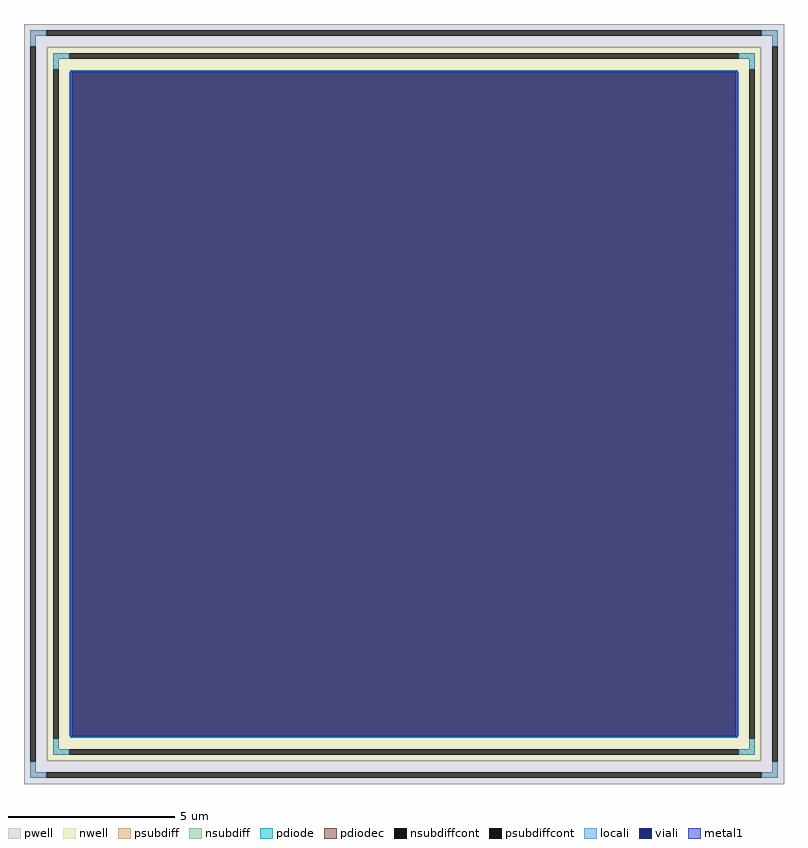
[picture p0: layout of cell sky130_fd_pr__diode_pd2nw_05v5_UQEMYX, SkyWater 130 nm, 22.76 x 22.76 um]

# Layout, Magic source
magic
tech sky130A
<< nwell >>
rect -1069 -1069 1069 1069
<< pwell >>
rect -1138 1069 1138 1138
rect -1138 -1069 -1069 1069
rect 1069 -1069 1138 1069
rect -1138 -1138 1138 -1069
<< psubdiff >>
rect -1120 1103 -1072 1120
rect 1072 1103 1120 1120
rect -1120 1072 -1103 1103
rect 1103 1072 1120 1103
rect -1120 -1103 -1103 -1072
rect 1103 -1103 1120 -1072
rect -1120 -1120 -1072 -1103
rect 1072 -1120 1120 -1103
<< nsubdiff >>
rect -1051 1034 -1003 1051
rect 1003 1034 1051 1051
rect -1051 1003 -1034 1034
rect 1034 1003 1051 1034
rect -1051 -1034 -1034 -1003
rect 1034 -1034 1051 -1003
rect -1051 -1051 -1003 -1034
rect 1003 -1051 1051 -1034
<< psubdiffcont >>
rect -1072 1103 1072 1120
rect -1120 -1072 -1103 1072
rect 1103 -1072 1120 1072
rect -1072 -1120 1072 -1103
<< nsubdiffcont >>
rect -1003 1034 1003 1051
rect -1051 -1003 -1034 1003
rect 1034 -1003 1051 1003
rect -1003 -1051 1003 -1034
<< pdiode >>
rect -1000 994 1000 1000
rect -1000 -994 -994 994
rect 994 -994 1000 994
rect -1000 -1000 1000 -994
<< pdiodec >>
rect -994 -994 994 994
<< locali >>
rect -1120 1103 -1072 1120
rect 1072 1103 1120 1120
rect -1120 1072 -1103 1103
rect 1103 1072 1120 1103
rect -1051 1034 -1003 1051
rect 1003 1034 1051 1051
rect -1051 1003 -1034 1034
rect 1034 1003 1051 1034
rect -1002 -994 -994 994
rect 994 -994 1002 994
rect -1051 -1034 -1034 -1003
rect 1034 -1034 1051 -1003
rect -1051 -1051 -1003 -1034
rect 1003 -1051 1051 -1034
rect -1120 -1103 -1103 -1072
rect 1103 -1103 1120 -1072
rect -1120 -1120 -1072 -1103
rect 1072 -1120 1120 -1103
<< viali >>
rect -994 -994 994 994
<< metal1 >>
rect -1000 994 1000 997
rect -1000 -994 -994 994
rect 994 -994 1000 994
rect -1000 -997 1000 -994
<< properties >>
string FIXED_BBOX -1042 -1042 1042 1042
string gencell sky130_fd_pr__diode_pd2nw_05v5
string library sky130
string parameters w 20 l 20 area 400.0 peri 80.0 nx 1 ny 1 dummy 0 lmin 0.45 wmin 0.45 elc 1 erc 1 etc 1 ebc 1 glc 1 grc 1 gtc 1 gbc 1 doverlap 0 compatible {sky130_fd_pr__diode_pd2nw_05v5 sky130_fd_pr__diode_pd2nw_05v5_lvt  sky130_fd_pr__diode_pd2nw_05v5_hvt sky130_fd_pr__diode_pd2nw_11v0} full_metal 1 vias 1 viagb 0 viagt 0 viagl 0 viagr 0
<< end >>
